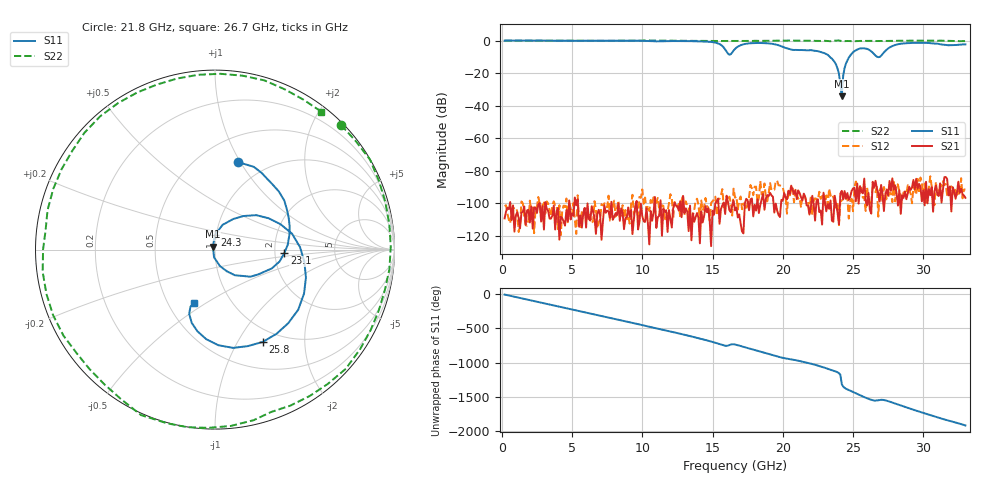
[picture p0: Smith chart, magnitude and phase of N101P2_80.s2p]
# GHZ S RI R 50
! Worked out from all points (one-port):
!   329 points, 200 MHz to 33 GHz, reference 50 ohm
!   lowest |S11| = -34.2 dB at 24.2 GHz (marker M1), VSWR 1.04, Z = 48.8 + j1.53 ohm
!   |S11| at or under -10 dB: 23.35 GHz to 24.74 GHz (1.388 GHz wide, 5.77 % of centre); 26.74 GHz to 26.91 GHz (173.7 MHz wide, 0.647 % of centre)
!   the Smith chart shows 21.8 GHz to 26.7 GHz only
!   S11 on the Smith chart (normalised r, x): 21.8 GHz: 0.75, +0.97; 23.1 GHz: 2.25, -0.11; 24.3 GHz: 0.99, +0.16; 25.8 GHz: 0.83, -1.28; 26.7 GHz: 0.67, -0.44
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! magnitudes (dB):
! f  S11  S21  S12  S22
! 200 MHz  0.0  -109.3  -101.7  0.0
! 5.7 GHz  -0.1  -115.0  -104.8  -0.1
! 11.2 GHz  -0.4  -107.8  -103.4  0.0
! 15.1 GHz  -1.1  -107.1  -97.6  -0.3
! 15.6 GHz  -2.6  -103.6  -95.2  -0.2
! 16.2 GHz  -8.7  -104.3  -95.9  -0.2
! 16.6 GHz  -5.1  -104.4  -96.6  -0.3
! 18.4 GHz  -1.5  -101.1  -86.4  -0.2
! 21.8 GHz  -6.0  -101.4  -98.9  -0.1
! 22.1 GHz  -6.0  -95.4  -107.2  -0.1
! 23.1 GHz  -8.3  -105.0  -95.2  -0.2
! 23.8 GHz  -14.8  -100.7  -102.0  0.0
! 24 GHz  -20.4  -112.9  -113.5  0.1
! 24.2 GHz  -34.2  -92.4  -98.1  -0.3
! 24.3 GHz  -21.8  -97.7  -98.9  -0.3
! 24.5 GHz  -14.0  -97.3  -95.1  -0.3
! 24.8 GHz  -9.2  -96.1  -99.0  -0.3
! 25.8 GHz  -4.7  -84.9  -96.2  -0.2
! 26.7 GHz  -9.9  -91.0  -89.9  -0.3
! 27.6 GHz  -4.2  -86.3  -93.8  -0.2
! 29.3 GHz  -1.4  -85.7  -90.0  -0.1
! 33 GHz  -2.3  -96.7  -91.6  -0.3
